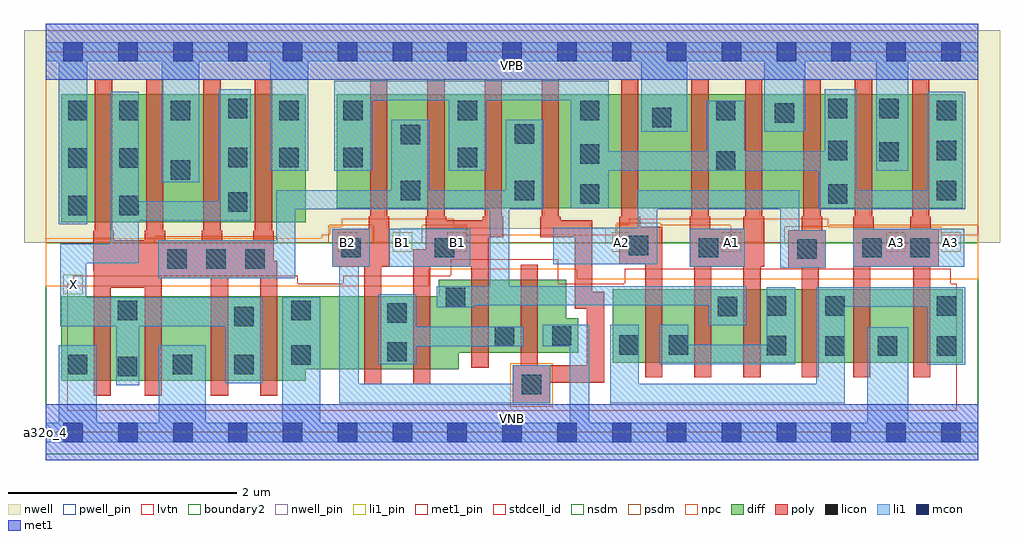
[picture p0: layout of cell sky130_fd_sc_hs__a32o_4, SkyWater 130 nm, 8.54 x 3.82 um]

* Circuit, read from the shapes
.subckt sky130_fd_sc_hs__a32o_4 A1 A2 A3 B1 B2 VGND VNB VPB VPWR X
XM1 X n1 VGND VNB sky130_fd_pr__nfet_01v8_lvt w=0.74 l=0.15 m=4
XM2 n2 B2 VGND VNB sky130_fd_pr__nfet_01v8_lvt w=0.64 l=0.15 m=2
XM3 n1 B1 n2 VNB sky130_fd_pr__nfet_01v8_lvt w=0.64 l=0.15 m=2
XM4 n3 A2 n4 VNB sky130_fd_pr__nfet_01v8_lvt w=0.64 l=0.15 m=2
XM5 n1 A1 n3 VNB sky130_fd_pr__nfet_01v8_lvt w=0.64 l=0.15 m=2
XM6 VGND A3 n4 VNB sky130_fd_pr__nfet_01v8_lvt w=0.64 l=0.15 m=2
XM7 X n1 VPWR VPB sky130_fd_pr__pfet_01v8 w=1.12 l=0.15 m=4
XM8 n1 B2 n5 VPB sky130_fd_pr__pfet_01v8 w=1 l=0.15 m=2
XM9 n5 B1 n1 VPB sky130_fd_pr__pfet_01v8 w=1 l=0.15 m=2
XM10 VPWR A2 n5 VPB sky130_fd_pr__pfet_01v8 w=1 l=0.15 m=2
XM11 n5 A1 VPWR VPB sky130_fd_pr__pfet_01v8 w=1 l=0.15 m=2
XM12 VPWR A3 n5 VPB sky130_fd_pr__pfet_01v8 w=1 l=0.15 m=2
.ends

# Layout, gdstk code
import gdstk
lib = gdstk.Library(unit=1e-6, precision=1e-09)
def R(c, l, rs):  # rectangles x0, y0, x1, y1
    for r in rs: c.add(gdstk.rectangle(r[:2], r[2:], *l))
def A(c, l, x, y, w, h, nx, ny, dx, dy):  # array of equal rectangles
    R(c, l, [(x+i*dx, y+j*dy, x+i*dx+w, y+j*dy+h) for i in range(nx) for j in range(ny)])
def P(c, l, *ps):  # polygons
    for p in ps: c.add(gdstk.Polygon(p, *l))
nwell_pin = (64, 16)
nwell = (64, 20)
diff = (65, 20)
poly = (66, 20)
licon = (66, 44)
li1_pin = (67, 16)
li1 = (67, 20)
mcon = (67, 44)
met1_pin = (68, 16)
met1 = (68, 20)
stdcell_id = (81, 4)
nsdm = (93, 44)
psdm = (94, 20)
npc = (95, 20)
pwell_pin = (122, 16)
lvtn = (125, 44)
boundary2 = (236, 0)

sky130_fd_sc_hs__a32o_4 = lib.new_cell('sky130_fd_sc_hs__a32o_4')
R(sky130_fd_sc_hs__a32o_4, nwell_pin, [(0,3.085,8.16,3.33)])
P(sky130_fd_sc_hs__a32o_4, nwell, [(8.35,3.52),(-0.19,3.52),(-0.19,1.66),(3.1,1.66),(3.1,1.78),(4.895,1.78),(4.895,1.66),(8.35,1.66)])
R(sky130_fd_sc_hs__a32o_4, diff, [(4.96,0.61,8.025,1.25), (0.135,1.84,2.275,2.96), (2.545,1.96,8.025,2.96)])
P(sky130_fd_sc_hs__a32o_4, diff, [(4.66,1),(4.555,1),(4.555,1.335),(3.44,1.335),(3.44,1.19),(0.135,1.19),(0.135,0.45),(2.275,0.45),(2.275,0.55),(3.615,0.55),(3.615,0.695),(4.66,0.695)])
P(sky130_fd_sc_hs__a32o_4, poly, [(7.815,1.78),(7.745,1.78),(7.745,1.885),(7.73,1.885),(7.73,3.09),(7.58,3.09),(7.58,1.885),(7.565,1.885),(7.565,1.78),(7.245,1.78),(7.245,1.885),(7.23,1.885),(7.23,3.09),(7.08,3.09),(7.08,1.885),(7.065,1.885),(7.065,0.48),(7.215,0.48),(7.215,1.45),(7.59,1.45),(7.59,0.48),(7.74,0.48),(7.74,1.45),(7.815,1.45)],
  [(6.825,1.77),(6.795,1.77),(6.795,1.885),(6.78,1.885),(6.78,3.09),(6.63,3.09),(6.63,1.885),(6.615,1.885),(6.615,1.77),(6.495,1.77),(6.495,1.44),(6.615,1.44),(6.615,0.48),(6.765,0.48),(6.765,1.44),(6.825,1.44)],
  [(6.285,1.885),(6.27,1.885),(6.27,3.09),(6.12,3.09),(6.12,1.885),(6.105,1.885),(6.105,1.78),(5.815,1.78),(5.815,1.885),(5.8,1.885),(5.8,3.09),(5.65,3.09),(5.65,1.885),(5.635,1.885),(5.635,1.45),(5.675,1.45),(5.675,0.48),(5.825,0.48),(5.825,1.45),(6.105,1.45),(6.105,0.48),(6.255,0.48),(6.255,1.45),(6.285,1.45)],
  [(5.395,1.8),(5.2,1.8),(5.2,1.885),(5.185,1.885),(5.185,3.09),(5.035,3.09),(5.035,1.885),(5.02,1.885),(5.02,1.47),(5.245,1.47),(5.245,0.48),(5.395,0.48)],
  [(4.885,1.23),(4.78,1.23),(4.78,1.855),(4.505,1.855),(4.505,1.885),(4.49,1.885),(4.49,3.09),(4.34,3.09),(4.34,1.885),(4.325,1.885),(4.325,1.705),(4.63,1.705),(4.63,1.08),(4.735,1.08),(4.735,0.585),(4.305,0.585),(4.305,1.465),(4.155,1.465),(4.155,0.585),(4.085,0.585),(4.085,0.255),(4.415,0.255),(4.415,0.435),(4.885,0.435)],
  [(4.005,1.885),(3.99,1.885),(3.99,3.09),(3.84,3.09),(3.84,1.885),(3.825,1.885),(3.825,1.855),(3.505,1.855),(3.505,1.885),(3.49,1.885),(3.49,3.09),(3.34,3.09),(3.34,1.885),(3.325,1.885),(3.325,1.6),(3.215,1.6),(3.215,0.42),(3.365,0.42),(3.365,1.45),(3.725,1.45),(3.725,0.565),(3.875,0.565),(3.875,1.705),(4.005,1.705)],
  [(3.005,1.885),(2.99,1.885),(2.99,3.09),(2.84,3.09),(2.84,1.885),(2.825,1.885),(2.825,1.78),(2.505,1.78),(2.505,1.45),(2.785,1.45),(2.785,0.42),(2.935,0.42),(2.935,1.45),(3.005,1.45)],
  [(2.025,1.5),(1.995,1.5),(1.995,1.765),(1.98,1.765),(1.98,3.09),(1.83,3.09),(1.83,1.765),(1.815,1.765),(1.815,1.68),(1.545,1.68),(1.545,1.765),(1.53,1.765),(1.53,3.09),(1.38,3.09),(1.38,1.765),(1.365,1.765),(1.365,1.68),(1.045,1.68),(1.045,1.765),(1.03,1.765),(1.03,3.09),(0.88,3.09),(0.88,1.765),(0.865,1.765),(0.865,1.68),(0.595,1.68),(0.595,1.765),(0.58,1.765),(0.58,3.09),(0.43,3.09),(0.43,1.765),(0.415,1.765),(0.415,1.415),(0.42,1.415),(0.42,0.32),(0.57,0.32),(0.57,1.265),(0.865,1.265),(0.865,0.32),(1.015,0.32),(1.015,1.35),(1.445,1.35),(1.445,0.32),(1.595,0.32),(1.595,1.35),(1.875,1.35),(1.875,0.32),(2.025,0.32)])
A(sky130_fd_sc_hs__a32o_4, licon, 1.065, 1.43, 0.17, 0.17, 3, 1, 0.34, 0)
A(sky130_fd_sc_hs__a32o_4, licon, 7.795, 2.03, 0.17, 0.17, 1, 3, 0, 0.35)
A(sky130_fd_sc_hs__a32o_4, licon, 0.195, 2.73, 0.17, 0.17, 3, 1, 0.45, 0)
R(sky130_fd_sc_hs__a32o_4, licon, [(4.165,0.335,4.335,0.505), (0.63,0.49,0.8,0.66), (0.195,0.51,0.365,0.68), (1.11,0.51,1.28,0.68), (1.65,0.51,1.82,0.68), (2.15,0.59,2.32,0.76), (2.99,0.62,3.16,0.79), (6.82,0.67,6.99,0.84), (7.28,0.67,7.45,0.84), (7.795,0.67,7.965,0.84), (6.31,0.675,6.48,0.845), (5.02,0.68,5.19,0.85), (5.45,0.68,5.62,0.85), (3.93,0.755,4.1,0.925), (4.43,0.76,4.6,0.93), (1.65,0.93,1.82,1.1), (2.99,0.96,3.16,1.13), (0.63,0.98,0.8,1.15), (2.15,0.98,2.32,1.15), (5.88,1.015,6.05,1.185), (6.31,1.02,6.48,1.19), (6.82,1.02,6.99,1.19), (7.795,1.02,7.965,1.19), (3.5,1.095,3.67,1.265), (6.575,1.52,6.745,1.69), (2.585,1.53,2.755,1.7), (3.405,1.53,3.575,1.7), (5.715,1.53,5.885,1.7), (7.145,1.53,7.315,1.7), (7.565,1.53,7.735,1.7), (5.1,1.55,5.27,1.72), (0.195,1.9,0.365,2.07), (0.645,1.9,0.815,2.07), (1.595,1.93,1.765,2.1), (4.675,2,4.845,2.17), (6.845,2,7.015,2.17), (3.105,2.03,3.275,2.2), (4.105,2.03,4.275,2.2), (1.095,2.21,1.265,2.38), (5.865,2.29,6.035,2.46), (0.195,2.315,0.365,2.485), (0.645,2.315,0.815,2.485), (1.595,2.32,1.765,2.49), (2.045,2.32,2.215,2.49), (2.605,2.32,2.775,2.49), (3.605,2.32,3.775,2.49), (4.675,2.35,4.845,2.52), (7.295,2.37,7.465,2.54), (6.845,2.38,7.015,2.55), (3.105,2.52,3.275,2.69), (4.105,2.525,4.275,2.695), (5.305,2.67,5.475,2.84), (6.38,2.71,6.55,2.88), (2.045,2.73,2.215,2.9), (2.605,2.73,2.775,2.9), (3.605,2.73,3.775,2.9), (4.675,2.73,4.845,2.9), (5.865,2.73,6.035,2.9), (1.595,2.75,1.765,2.92), (6.845,2.75,7.015,2.92), (7.295,2.75,7.465,2.92)])
A(sky130_fd_sc_hs__a32o_4, li1_pin, 2.555, 1.58, 0.17, 0.17, 3, 1, 0.48, 0)
R(sky130_fd_sc_hs__a32o_4, li1_pin, [(0.155,1.21,0.325,1.38), (4.955,1.58,5.125,1.75), (5.915,1.58,6.085,1.75), (7.355,1.58,7.525,1.75), (7.835,1.58,8.005,1.75)])
R(sky130_fd_sc_hs__a32o_4, li1, [(3.005,1.45,3.715,1.78), (5.635,1.45,6.115,1.78), (7.065,1.45,8.035,1.78)])
P(sky130_fd_sc_hs__a32o_4, li1, [(1.965,2.29),(1.965,3.245),(1.345,3.245),(1.345,2.19),(1.015,2.19),(1.015,3.245),(0.365,3.245),(0.365,1.82),(0.115,1.82),(0.115,3.245),(0,3.245),(0,3.415),(8.16,3.415),(8.16,3.245),(7.545,3.245),(7.545,2.29),(7.265,2.29),(7.265,3.245),(6.645,3.245),(6.645,2.63),(6.285,2.63),(6.285,3.245),(5.615,3.245),(5.615,2.63),(5.21,2.63),(5.21,3.245),(2.295,3.245),(2.295,2.29)],
  [(4.585,0.085),(4.585,0.755),(4.35,0.755),(4.35,0.94),(4.755,0.94),(4.755,0.085),(7.19,0.085),(7.19,0.92),(7.545,0.92),(7.545,0.085),(8.16,0.085),(8.16,-0.085),(0,-0.085),(0,0.085),(0.115,0.085),(0.115,0.76),(0.445,0.76),(0.445,0.085),(0.99,0.085),(0.99,0.76),(1.4,0.76),(1.4,0.085),(2.07,0.085),(2.07,1.18),(2.4,1.18),(2.4,0.085)],
  [(6.825,1.77),(6.595,1.77),(6.595,2.12),(5.18,2.12),(5.18,1.79),(4.44,1.79),(4.44,1.47),(5.35,1.47),(5.35,1.95),(6.425,1.95),(6.425,1.44),(6.825,1.44)],
  [(3.025,2.12),(3.025,2.735),(3.355,2.735),(3.355,2.12),(4.025,2.12),(4.025,2.735),(4.355,2.735),(4.355,1.95),(4.055,1.95),(4.055,1.28),(6.13,1.28),(6.13,0.935),(5.8,0.935),(5.8,1.11),(3.75,1.11),(3.75,1.095),(3.42,1.095),(3.42,1.28),(3.885,1.28),(3.885,1.95),(2.185,1.95),(2.185,1.35),(0.985,1.35),(0.985,1.68),(2.015,1.68),(2.015,2.12)],
  [(2.74,0.425),(4.085,0.425),(4.085,0.585),(4.415,0.585),(4.415,0.255),(2.57,0.255),(2.57,1.45),(2.505,1.45),(2.505,1.78),(2.835,1.78),(2.835,1.45),(2.74,1.45)],
  [(1.9,1.18),(0.355,1.18),(0.355,1.48),(0.815,1.48),(0.815,1.85),(1.795,1.85),(1.795,3),(1.515,3),(1.515,2.02),(0.815,2.02),(0.815,2.98),(0.565,2.98),(0.565,1.65),(0.125,1.65),(0.125,0.93),(0.615,0.93),(0.615,0.41),(0.82,0.41),(0.82,0.93),(1.57,0.93),(1.57,0.43),(1.9,0.43)],
  [(8.045,2.98),(7.715,2.98),(7.715,2.12),(7.095,2.12),(7.095,3),(6.815,3),(6.815,2.46),(6.115,2.46),(6.115,2.9),(5.785,2.9),(5.785,2.46),(4.925,2.46),(4.925,3.075),(2.525,3.075),(2.525,2.29),(2.855,2.29),(2.855,2.905),(3.525,2.905),(3.525,2.29),(3.855,2.29),(3.855,2.905),(4.595,2.905),(4.595,1.96),(4.925,1.96),(4.925,2.29),(6.765,2.29),(6.765,1.95),(8.045,1.95)],
  [(3.24,0.925),(4.18,0.925),(4.18,0.755),(3.24,0.755),(3.24,0.595),(2.91,0.595),(2.91,1.21),(3.24,1.21)],
  [(6.74,0.425),(6.74,1.27),(8.045,1.27),(8.045,0.59),(7.715,0.59),(7.715,1.1),(6.99,1.1),(6.99,0.255),(4.94,0.255),(4.94,0.94),(5.19,0.94),(5.19,0.425)],
  [(6.31,0.765),(6.31,1.27),(6.56,1.27),(6.56,0.595),(5.37,0.595),(5.37,0.94),(5.62,0.94),(5.62,0.765)])
A(sky130_fd_sc_hs__a32o_4, mcon, 0.155, -0.085, 0.17, 0.17, 17, 2, 0.48, 3.33)
R(sky130_fd_sc_hs__a32o_4, met1_pin, [(0,0,8.16,0.245), (0,3.085,8.16,3.33)])
R(sky130_fd_sc_hs__a32o_4, met1, [(0,-0.245,8.16,0.245), (0,3.085,8.16,3.575)])
R(sky130_fd_sc_hs__a32o_4, stdcell_id, [(0,0,8.16,3.33)])
R(sky130_fd_sc_hs__a32o_4, nsdm, [(0,-0.19,8.16,1.66)])
P(sky130_fd_sc_hs__a32o_4, psdm, [(8.16,3.52),(0,3.52),(0,1.66),(0.955,1.66),(0.955,1.71),(2.025,1.71),(2.025,1.66),(2.475,1.66),(2.475,1.81),(2.865,1.81),(2.865,1.66),(3.295,1.66),(3.295,1.81),(3.685,1.81),(3.685,1.66),(4.99,1.66),(4.99,1.83),(5.38,1.83),(5.38,1.81),(5.995,1.81),(5.995,1.66),(6.465,1.66),(6.465,1.8),(6.855,1.8),(6.855,1.81),(8.16,1.81)])
R(sky130_fd_sc_hs__a32o_4, npc, [(4.065,0.225,4.435,0.605)])
P(sky130_fd_sc_hs__a32o_4, npc, [(8.16,1.73),(7.835,1.73),(7.835,1.8),(6.845,1.8),(6.845,1.87),(5.105,1.87),(5.105,1.82),(5,1.82),(5,1.73),(3.675,1.73),(3.675,1.8),(3.57,1.8),(3.57,1.87),(2.59,1.87),(2.59,1.8),(2.485,1.8),(2.485,1.73),(2.415,1.73),(2.415,1.7),(0,1.7),(0,1.28),(3.35,1.28),(3.35,1.425),(4.645,1.425),(4.645,1.34),(8.16,1.34)])
R(sky130_fd_sc_hs__a32o_4, pwell_pin, [(0,0,8.16,0.245)])
P(sky130_fd_sc_hs__a32o_4, lvtn, [(7.97,1.3),(7.92,1.3),(7.92,1.43),(5.065,1.43),(5.065,1.3),(4.485,1.3),(4.485,1.515),(3.545,1.515),(3.545,1.37),(2.605,1.37),(2.605,1.3),(2.205,1.3),(2.205,1.37),(0.24,1.37),(0.24,1.3),(0.19,1.3),(0.19,0.19),(7.97,0.19)])
R(sky130_fd_sc_hs__a32o_4, boundary2, [(0,0,8.16,3.33)])
sky130_fd_sc_hs__a32o_4.add(gdstk.Label('a32o_4', (0,0), layer=83, texttype=44))
sky130_fd_sc_hs__a32o_4.add(gdstk.Label('VNB', (4.08,0.123), layer=64, texttype=59))
sky130_fd_sc_hs__a32o_4.add(gdstk.Label('VPB', (4.08,3.208), layer=64, texttype=5))
sky130_fd_sc_hs__a32o_4.add(gdstk.Label('VPWR', (4.08,3.208), layer=68, texttype=5))
sky130_fd_sc_hs__a32o_4.add(gdstk.Label('VGND', (4.08,0.123), layer=68, texttype=5))
sky130_fd_sc_hs__a32o_4.add(gdstk.Label('B1', (3.12,1.665), layer=67, texttype=5))
sky130_fd_sc_hs__a32o_4.add(gdstk.Label('B1', (3.6,1.665), layer=67, texttype=5))
sky130_fd_sc_hs__a32o_4.add(gdstk.Label('A3', (7.44,1.665), layer=67, texttype=5))
sky130_fd_sc_hs__a32o_4.add(gdstk.Label('A3', (7.92,1.665), layer=67, texttype=5))
sky130_fd_sc_hs__a32o_4.add(gdstk.Label('A1', (6,1.665), layer=67, texttype=5))
sky130_fd_sc_hs__a32o_4.add(gdstk.Label('X', (0.24,1.295), layer=67, texttype=5))
sky130_fd_sc_hs__a32o_4.add(gdstk.Label('B2', (2.64,1.665), layer=67, texttype=5))
sky130_fd_sc_hs__a32o_4.add(gdstk.Label('A2', (5.04,1.665), layer=67, texttype=5))

lib.write_gds('sky130_fd_sc_hs__a32o_4.gds')
